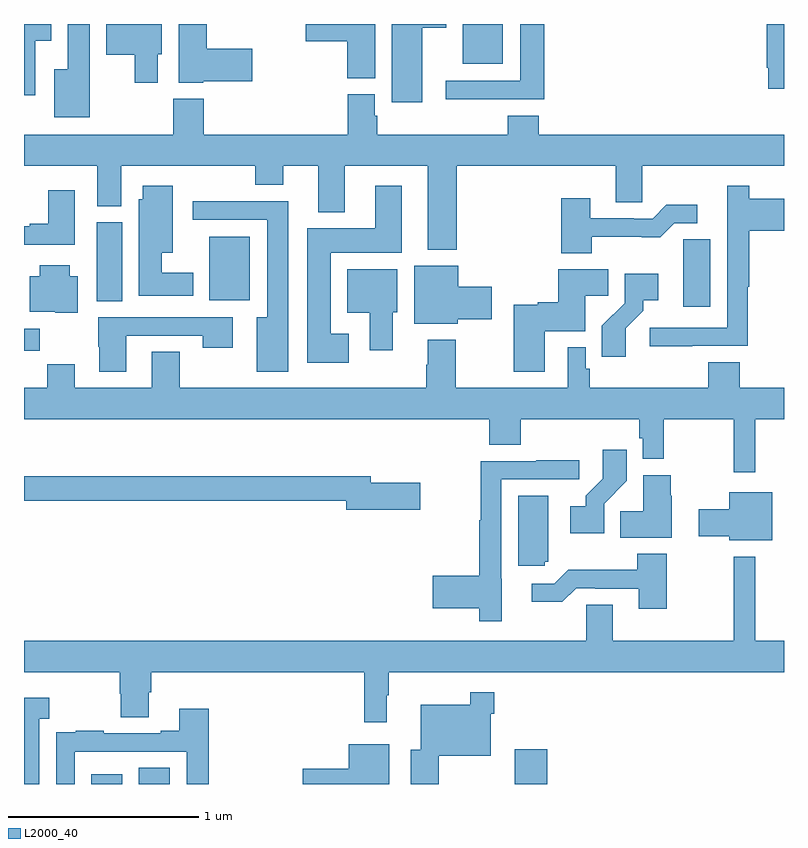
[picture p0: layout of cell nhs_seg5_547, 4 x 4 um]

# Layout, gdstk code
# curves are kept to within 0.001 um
import gdstk
lib = gdstk.Library(unit=1e-6, precision=1e-09)
def R(c, l, rs):  # rectangles x0, y0, x1, y1
    for r in rs: c.add(gdstk.rectangle(r[:2], r[2:], *l))
def P(c, l, *ps):  # polygons
    for p in ps: c.add(gdstk.Polygon(p, *l))
L2000_40 = (2000, 40)

nhs_seg5_547 = lib.new_cell('nhs_seg5_547')
R(nhs_seg5_547, L2000_40, [(145.355,894.799,145.516,894.85), (145.604,894.799,145.768,894.884), (147.584,894.799,147.755,894.982), (145,897.078,145.082,897.196), (145.382,897.34,145.516,897.756), (145.976,897.344,146.188,897.679), (147.308,898.589,147.52,898.799)])
P(nhs_seg5_547, L2000_40, [(145.705,898.641),(145.726,898.641),(145.726,898.799),(145.433,898.799),(145.433,898.637),(145.583,898.637),(145.583,898.491),(145.705,898.491)],
  [(147.737,898.799),(147.611,898.799),(147.611,898.5),(147.219,898.5),(147.219,898.403),(147.737,898.403)],
  [(147.097,898.778),(147.223,898.778),(147.223,898.799),(146.936,898.799),(146.936,898.388),(147.097,898.388)],
  [(145.944,898.499),(146.2,898.499),(146.2,898.67),(145.961,898.67),(145.961,898.799),(145.814,898.799),(145.814,898.49),(145.944,898.49)],
  [(145.345,898.799),(145.229,898.799),(145.229,898.561),(145.16,898.561),(145.16,898.307),(145.345,898.307)],
  [(145.06,898.712),(145.144,898.712),(145.144,898.799),(145,898.799),(145,898.425),(145.06,898.425)],
  [(149,898.799),(148.909,898.799),(148.909,898.57),(148.917,898.57),(148.917,898.458),(149,898.458)],
  [(146.848,898.799),(146.484,898.799),(146.484,898.709),(146.702,898.709),(146.702,898.513),(146.848,898.513)],
  [(147.278,898.052),(148.115,898.052),(148.115,897.862),(148.254,897.862),(148.254,898.052),(149,898.052),(149,898.216),(147.71,898.216),(147.71,898.315),(147.545,898.315),(147.545,898.216),(146.858,898.216),(146.858,898.317),(146.845,898.317),(146.845,898.428),(146.705,898.428),(146.705,898.216),(145.946,898.216),(145.946,898.405),(145.786,898.405),(145.786,898.216),(145,898.216),(145,898.052),(145.385,898.052),(145.385,897.841),(145.513,897.841),(145.513,898.052),(146.218,898.052),(146.218,897.953),(146.365,897.953),(146.365,898.052),(146.549,898.052),(146.549,897.809),(146.689,897.809),(146.689,898.052),(147.125,898.052),(147.125,897.611),(147.278,897.611)],
  [(146.71,897.169),(146.614,897.169),(146.614,897.596),(146.989,897.596),(146.989,897.949),(146.849,897.949),(146.849,897.724),(146.492,897.724),(146.492,897.017),(146.71,897.017)],
  [(148.517,897.105),(148.81,897.105),(148.81,897.417),(148.817,897.417),(148.817,897.71),(149,897.71),(149,897.88),(148.817,897.88),(148.817,897.949),(148.7,897.949),(148.7,897.726),(148.701,897.726),(148.701,897.201),(148.293,897.201),(148.293,897.103),(148.517,897.103)],
  [(145.891,897.49),(145.726,897.49),(145.726,897.596),(145.783,897.596),(145.783,897.949),(145.625,897.949),(145.625,897.876),(145.604,897.876),(145.604,897.368),(145.891,897.368)],
  [(145.267,897.925),(145.127,897.925),(145.127,897.748),(145.031,897.748),(145.031,897.735),(145,897.735),(145,897.638),(145.267,897.638)],
  [(147.987,897.678),(148.349,897.677),(148.422,897.75),(148.543,897.75),(148.543,897.847),(148.381,897.847),(148.308,897.774),(148.208,897.774),(148.208,897.777),(147.979,897.777),(147.979,897.883),(147.827,897.883),(147.827,897.593),(147.987,897.593)],
  [(146.392,897.866),(145.887,897.866),(145.887,897.768),(146.279,897.768),(146.279,897.256),(146.225,897.256),(146.225,896.97),(146.392,896.97)],
  [(148.612,897.665),(148.47,897.665),(148.47,897.554),(148.469,897.554),(148.469,897.312),(148.612,897.312)],
  [(145.282,897.472),(145.24,897.472),(145.24,897.529),(145.082,897.529),(145.082,897.472),(145.031,897.472),(145.031,897.284),(145.164,897.284),(145.164,897.278),(145.282,897.278)],
  [(147.282,897.245),(147.463,897.245),(147.463,897.416),(147.286,897.416),(147.286,897.526),(147.053,897.526),(147.053,897.221),(147.282,897.221)],
  [(146.941,897.282),(146.965,897.282),(146.965,897.508),(146.702,897.508),(146.702,897.278),(146.819,897.278),(146.819,897.081),(146.941,897.081)],
  [(147.742,897.182),(147.955,897.182),(147.955,897.37),(148.076,897.37),(148.076,897.508),(147.811,897.508),(147.811,897.335),(147.705,897.335),(147.705,897.322),(147.577,897.322),(147.577,896.97),(147.742,896.97)],
  [(148.168,897.199),(148.258,897.289),(148.258,897.344),(148.339,897.344),(148.339,897.484),(148.161,897.484),(148.161,897.329),(148.042,897.21),(148.042,897.048),(148.168,897.048)],
  [(145.537,897.159),(145.942,897.159),(145.942,897.096),(146.098,897.096),(146.098,897.255),(145.39,897.255),(145.39,897.1),(145.397,897.1),(145.397,896.97),(145.537,896.97)],
  [(148.849,896.72),(149,896.72),(149,896.884),(148.766,896.884),(148.766,897.02),(148.601,897.02),(148.601,896.884),(147.977,896.884),(147.977,896.985),(147.957,896.985),(147.957,897.097),(147.861,897.097),(147.861,896.884),(147.273,896.884),(147.273,897.136),(147.125,897.136),(147.125,897.005),(147.118,897.005),(147.118,896.884),(145.821,896.884),(145.821,897.074),(145.673,897.074),(145.673,896.884),(145.267,896.884),(145.267,897.008),(145.123,897.008),(145.123,896.884),(145,896.884),(145,896.72),(147.449,896.72),(147.449,896.584),(147.614,896.584),(147.614,896.72),(148.237,896.72),(148.237,896.619),(148.257,896.619),(148.257,896.51),(148.366,896.51),(148.366,896.72),(148.735,896.72),(148.735,896.439),(148.849,896.439)],
  [(148.053,896.275),(148.172,896.394),(148.172,896.557),(148.047,896.557),(148.047,896.405),(147.956,896.315),(147.956,896.26),(147.876,896.26),(147.876,896.12),(148.053,896.12)],
  [(147.514,895.878),(147.513,895.878),(147.513,896.403),(147.922,896.403),(147.922,896.502),(147.697,896.502),(147.697,896.499),(147.405,896.499),(147.405,896.187),(147.397,896.187),(147.397,895.895),(147.15,895.895),(147.15,895.724),(147.397,895.724),(147.397,895.656),(147.514,895.656)],
  [(148.408,896.316),(148.404,896.316),(148.404,896.425),(148.259,896.425),(148.259,896.234),(148.138,896.234),(148.138,896.096),(148.408,896.096)],
  [(147.085,896.385),(146.824,896.385),(146.824,896.419),(145,896.419),(145,896.29),(146.696,896.29),(146.696,896.243),(147.085,896.243)],
  [(148.939,896.335),(148.712,896.335),(148.712,896.244),(148.551,896.244),(148.551,896.102),(148.712,896.102),(148.712,896.081),(148.939,896.081)],
  [(147.741,895.968),(147.76,895.968),(147.76,896.317),(147.602,896.317),(147.602,895.947),(147.741,895.947)],
  [(148.383,896.011),(148.228,896.011),(148.228,895.927),(147.865,895.927),(147.792,895.854),(147.672,895.854),(147.672,895.757),(147.833,895.757),(147.906,895.83),(148.006,895.83),(148.006,895.827),(148.235,895.827),(148.235,895.722),(148.383,895.722)],
  [(146.908,895.265),(146.92,895.265),(146.92,895.388),(149,895.388),(149,895.552),(148.849,895.552),(148.849,895.996),(148.735,895.996),(148.735,895.552),(148.099,895.552),(148.099,895.742),(147.96,895.742),(147.96,895.552),(145,895.552),(145,895.388),(145.505,895.388),(145.505,895.275),(145.51,895.275),(145.51,895.15),(145.657,895.15),(145.657,895.282),(145.67,895.282),(145.67,895.388),(146.791,895.388),(146.791,895.125),(146.908,895.125)],
  [(147.183,894.947),(147.456,894.947),(147.456,895.169),(147.476,895.169),(147.476,895.282),(147.348,895.282),(147.348,895.216),(147.087,895.216),(147.087,894.979),(147.035,894.979),(147.035,894.799),(147.183,894.799)],
  [(145.08,895.142),(145.132,895.142),(145.132,895.252),(145,895.252),(145,894.799),(145.08,894.799)],
  [(145.266,894.969),(145.857,894.969),(145.857,894.799),(145.973,894.799),(145.973,895.195),(145.817,895.195),(145.817,895.078),(145.721,895.078),(145.721,895.065),(145.421,895.065),(145.421,895.078),(145.273,895.078),(145.273,895.071),(145.171,895.071),(145.171,894.962),(145.17,894.962),(145.17,894.799),(145.266,894.799)],
  [(146.923,895.009),(146.708,895.009),(146.708,894.878),(146.466,894.878),(146.466,894.799),(146.923,894.799)])

lib.write_gds('nhs_seg5_547.gds')
